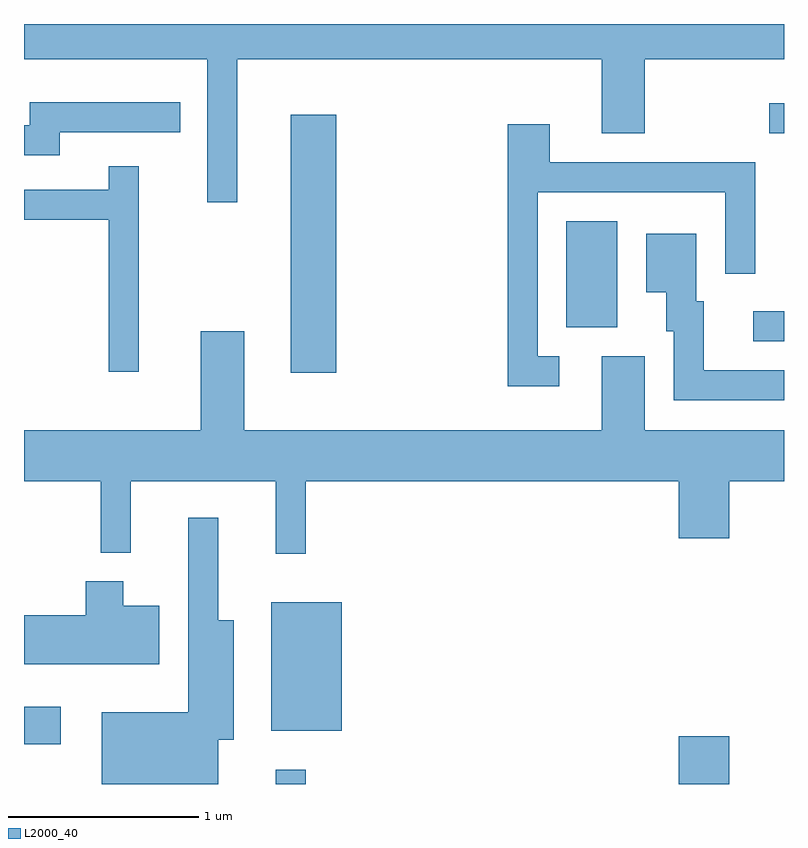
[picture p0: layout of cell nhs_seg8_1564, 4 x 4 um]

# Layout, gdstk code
import gdstk
lib = gdstk.Library(unit=1e-6, precision=1e-09)
def R(c, l, rs):  # rectangles x0, y0, x1, y1
    for r in rs: c.add(gdstk.rectangle(r[:2], r[2:], *l))
def P(c, l, *ps):  # polygons
    for p in ps: c.add(gdstk.Polygon(p, *l))
L2000_40 = (2000, 40)

nhs_seg8_1564 = lib.new_cell('nhs_seg8_1564')
R(nhs_seg8_1564, L2000_40, [(232.936,1870.342,233.094,1870.418), (235.056,1870.342,235.324,1870.594), (231.611,1870.551,231.804,1870.749), (232.911,1870.621,233.284,1871.299), (233.016,1872.506,233.254,1873.864), (235.448,1872.671,235.611,1872.829), (234.466,1872.746,234.734,1873.304), (235.533,1873.766,235.611,1873.924)])
P(nhs_seg8_1564, L2000_40, [(232.734,1874.156),(234.651,1874.156),(234.651,1873.766),(234.879,1873.766),(234.879,1874.156),(235.611,1874.156),(235.611,1874.342),(231.611,1874.342),(231.611,1874.156),(232.576,1874.156),(232.576,1873.403),(232.734,1873.403)],
  [(231.799,1873.771),(232.433,1873.771),(232.433,1873.929),(231.641,1873.929),(231.641,1873.809),(231.611,1873.809),(231.611,1873.651),(231.799,1873.651)],
  [(234.428,1872.594),(234.314,1872.594),(234.314,1873.456),(235.301,1873.456),(235.301,1873.028),(235.459,1873.028),(235.459,1873.614),(234.379,1873.614),(234.379,1873.814),(234.156,1873.814),(234.156,1872.436),(234.428,1872.436)],
  [(232.214,1873.593),(232.056,1873.593),(232.056,1873.469),(231.611,1873.469),(231.611,1873.311),(232.056,1873.311),(232.056,1872.513),(232.214,1872.513)],
  [(235.611,1872.519),(235.189,1872.519),(235.189,1872.884),(235.149,1872.884),(235.149,1873.239),(234.886,1873.239),(234.886,1872.931),(234.991,1872.931),(234.991,1872.726),(235.031,1872.726),(235.031,1872.361),(235.611,1872.361)],
  [(233.094,1871.936),(235.056,1871.936),(235.056,1871.636),(235.324,1871.636),(235.324,1871.936),(235.611,1871.936),(235.611,1872.204),(234.879,1872.204),(234.879,1872.594),(234.651,1872.594),(234.651,1872.204),(232.769,1872.204),(232.769,1872.724),(232.541,1872.724),(232.541,1872.204),(231.611,1872.204),(231.611,1871.936),(232.016,1871.936),(232.016,1871.558),(232.174,1871.558),(232.174,1871.936),(232.936,1871.936),(232.936,1871.553),(233.094,1871.553)],
  [(232.634,1870.576),(232.714,1870.576),(232.714,1871.204),(232.634,1871.204),(232.634,1871.743),(232.476,1871.743),(232.476,1870.719),(232.021,1870.719),(232.021,1870.342),(232.634,1870.342)],
  [(232.324,1871.279),(232.134,1871.279),(232.134,1871.409),(231.936,1871.409),(231.936,1871.229),(231.611,1871.229),(231.611,1870.971),(232.324,1870.971)])

lib.write_gds('nhs_seg8_1564.gds')
